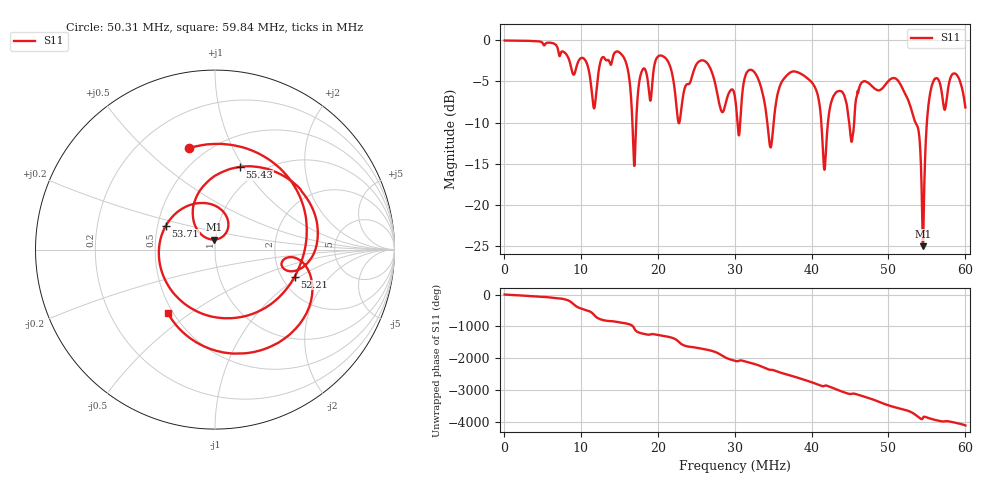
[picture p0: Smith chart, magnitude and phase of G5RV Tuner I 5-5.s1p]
# Hz S RI R 50
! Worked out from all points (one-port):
!   3030 points, 100 kHz to 60 MHz, reference 50 ohm
!   lowest |S11| = -25.0 dB at 54.48 MHz (marker M1), VSWR 1.12, Z = 49.3 + j5.54 ohm
!   |S11| at or under -10 dB: 34.25 MHz to 35.07 MHz (826.2 kHz wide, 2.38 % of centre); 41.27 MHz to 42.13 MHz (859.2 kHz wide, 2.06 % of centre); 53.51 MHz to 54.99 MHz (1.479 MHz wide, 2.73 % of centre)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
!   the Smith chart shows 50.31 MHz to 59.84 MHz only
!   S11 on the Smith chart (normalised r, x): 50.31 MHz: 0.40, +0.69; 52.21 MHz: 2.35, -0.91; 53.71 MHz: 0.55, +0.16; 55.43 MHz: 0.81, +0.97; 59.84 MHz: 0.47, -0.41
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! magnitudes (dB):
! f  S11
! 100 kHz  0.0
! 7.595 MHz  -1.3
! 11.73 MHz  -8.3
! 15.09 MHz  -1.5
! 16.18 MHz  -3.8
! 16.95 MHz  -15.3
! 17.86 MHz  -3.9
! 20.13 MHz  -1.9
! 22.56 MHz  -9.2
! 25.67 MHz  -2.4
! 30.06 MHz  -7.0
! 30.55 MHz  -11.6
! 32.55 MHz  -3.8
! 34.69 MHz  -13.0
! 37.55 MHz  -3.8
! 40.56 MHz  -5.9
! 41.67 MHz  -15.7
! 43.21 MHz  -6.3
! 45.03 MHz  -11.2
! 46.53 MHz  -5.1
! 50.31 MHz  -4.7
! 52.21 MHz  -6.6
! 52.52 MHz  -7.2
! 53.71 MHz  -10.3
! 54.48 MHz  -25.0
! 55.43 MHz  -6.4
! 59.84 MHz  -7.1
! 60 MHz  -8.2
